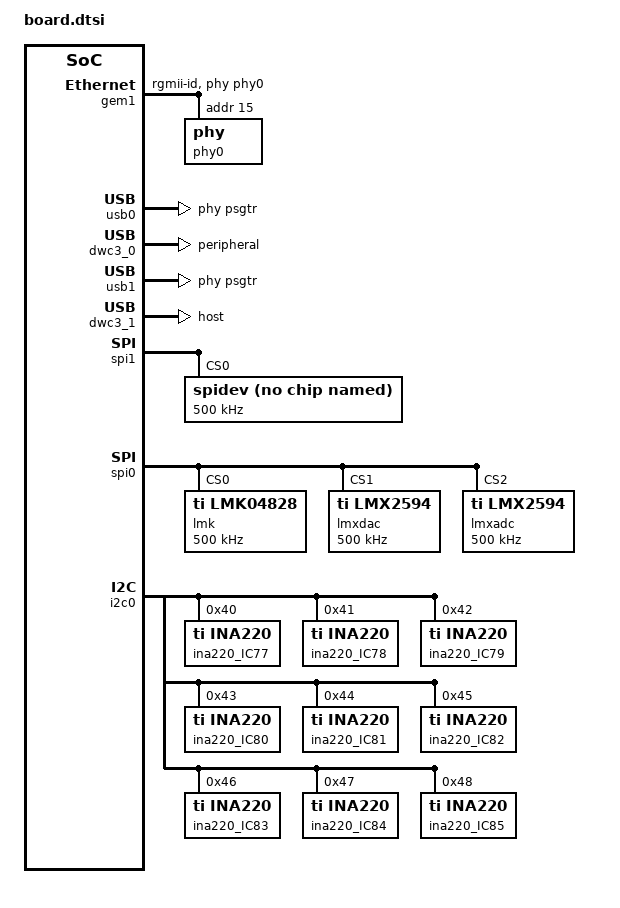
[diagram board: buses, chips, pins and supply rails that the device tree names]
/* RFSoC4x2 board-specific device-tree nodes (appended to the SDT base dts):
 * RGMII PHY on gem1, PS-GTR DP/USB reference clocks, the LMK04828 + dual LMX2594
 * RF clock chips on spi0, a spidev on spi1, and the INA220 power monitors on
 * i2c0. 
 * PHY type cells are numeric (PHY_TYPE_USB3=4, PHY_TYPE_DP=6) because the SDT
 * base dts is pre-flattened and carries no dt-bindings include path. */

/ {
	reserved-memory {
		#address-cells = <2>;
		#size-cells = <2>;
		ranges;
		linux,cma {
			compatible = "shared-dma-pool";
			reusable;
			size = <0x0 0x20000000>;
			alignment = <0x0 0x2000>;
			/* Pin the cma pool to the low 2 GB DDR bank */
			alloc-ranges = <0x0 0x0 0x0 0x80000000>;
			linux,cma-default;
		};
	};

	dp_clk: psgtr_dp_clock {
		compatible = "fixed-clock";
		#clock-cells = <0x00>;
		clock-frequency = <27000000>;
	};

	usb_clk: psgtr_usb_clock {
		compatible = "fixed-clock";
		#clock-cells = <0x00>;
		clock-frequency = <26000000>;
	};
};

&gem1 {
	status = "okay";
	phy-handle = <&phy0>;
	phy-mode = "rgmii-id";
	phy0: phy@f {
		reg = <0xf>;
		ti,rx-internal-delay = <0x8>;
		ti,tx-internal-delay = <0xa>;
		ti,fifo-depth = <0x1>;
		ti,dp83867-rxctrl-strap-quirk;
	};
};

&sdhci0 {
	no-1-8-v;
};

&psgtr {
	clocks = <&usb_clk>, <&dp_clk>;
	clock-names = "ref0", "ref1";
};

&zynqmp_dpsub {
	phys = <&psgtr 1 6 0 1>, <&psgtr 0 6 1 1>;
};

&usb0 {
	status = "okay";
	phy-names = "usb3-phy";
	phys = <&psgtr 2 4 0 0>;
};

&dwc3_0 {
	status = "okay";
	dr_mode = "peripheral";
	snps,usb3_lpm_capable;
	maximum-speed = "super-speed";
};

&usb1 {
	status = "okay";
	phy-names = "usb3-phy";
	phys = <&psgtr 3 4 1 0>;
};

&dwc3_1 {
	status = "okay";
	dr_mode = "host";
	snps,usb3_lpm_capable;
	maximum-speed = "super-speed";
};

&spi1 {
	spidev@0 {
		compatible = "rohm,dh2228fv";
		reg = <0>;
		spi-max-frequency = <500000>;
	};
};

&spi0 {
	lmk@0 {
		compatible = "ti,lmk04828";
		reg = <0x0>;
		spi-max-frequency = <500000>;
		num_bytes = <3>;
	};
	lmxdac@1 {
		compatible = "ti,lmx2594";
		reg = <0x1>;
		spi-max-frequency = <500000>;
		num_bytes = <3>;
	};
	lmxadc@2 {
		compatible = "ti,lmx2594";
		reg = <0x2>;
		spi-max-frequency = <500000>;
		num_bytes = <3>;
	};
};

&i2c0 {
	ina220_IC77@40 {
		compatible = "ti,ina220";
		reg = <0x40>;
		shunt-resistor = <1000>;
	};
	ina220_IC78@41 {
		compatible = "ti,ina220";
		reg = <0x41>;
		shunt-resistor = <1000>;
	};
	ina220_IC79@42 {
		compatible = "ti,ina220";
		reg = <0x42>;
		shunt-resistor = <1000>;
	};
	ina220_IC80@43 {
		compatible = "ti,ina220";
		reg = <0x43>;
		shunt-resistor = <10000>;
	};
	ina220_IC81@44 {
		compatible = "ti,ina220";
		reg = <0x44>;
		shunt-resistor = <10000>;
	};
	ina220_IC82@45 {
		compatible = "ti,ina220";
		reg = <0x45>;
		shunt-resistor = <10000>;
	};
	ina220_IC83@46 {
		compatible = "ti,ina220";
		reg = <0x46>;
		shunt-resistor = <10000>;
	};
	ina220_IC84@47 {
		compatible = "ti,ina220";
		reg = <0x47>;
		shunt-resistor = <10000>;
	};
	ina220_IC85@48 {
		compatible = "ti,ina220";
		reg = <0x48>;
		shunt-resistor = <10000>;
	};
};
